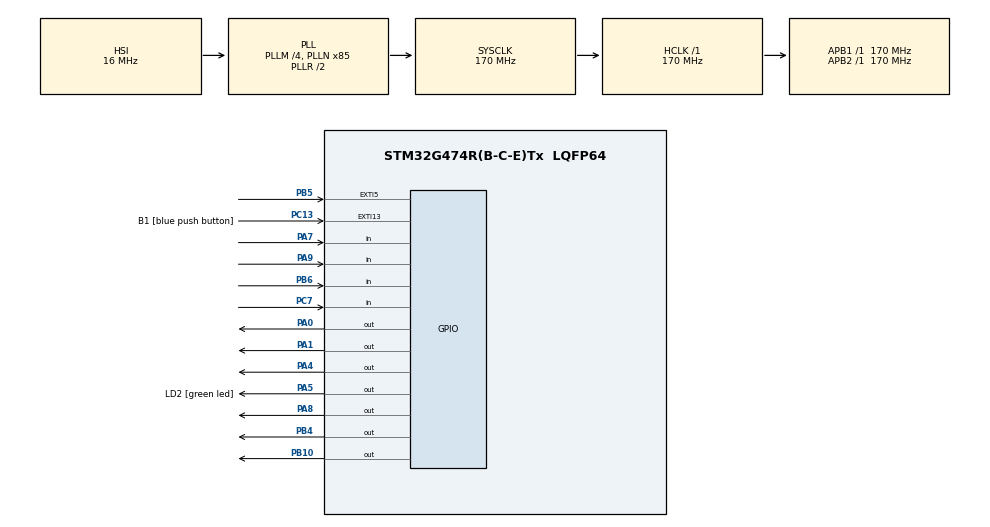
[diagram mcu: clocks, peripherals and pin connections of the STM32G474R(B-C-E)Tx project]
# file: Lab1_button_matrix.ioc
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Mcu.Family=STM32G4
Mcu.Name=STM32G474R(B-C-E)Tx
Mcu.Package=LQFP64
NVIC.EXTI15_10_IRQn=true\:0\:0\:false\:false\:true\:true\:true\:true
NVIC.EXTI9_5_IRQn=true\:0\:0\:false\:false\:true\:true\:true\:true
NVIC.PriorityGroup=NVIC_PRIORITYGROUP_4
PA0.Signal=GPIO_Output
PA1.Signal=GPIO_Output
PA13.GPIO_Label=T_SWDIO
PA13.Signal=SYS_JTMS-SWDIO
PA14.GPIO_Label=T_SWCLK
PA14.Signal=SYS_JTCK-SWCLK
PA2.GPIO_Label=LPUART1_TX [STLINKV3E_VCP_RX]
PA2.Signal=LPUART1_TX
PA3.GPIO_Label=LPUART1_RX [STLINKV3E_VCP_TX]
PA3.Signal=LPUART1_RX
PA4.Signal=GPIO_Output
PA5.GPIO_Label=LD2 [green led]
PA5.GPIO_ModeDefaultOutputPP=GPIO_MODE_OUTPUT_PP
PA5.GPIO_PuPd=GPIO_NOPULL
PA5.Signal=GPIO_Output
PA7.GPIO_PuPd=GPIO_PULLUP
PA7.Signal=GPIO_Input
PA8.GPIO_ModeDefaultOutputPP=GPIO_MODE_OUTPUT_OD
PA8.GPIO_PuPd=GPIO_NOPULL
PA8.Signal=GPIO_Output
PA9.GPIO_PuPd=GPIO_PULLUP
PA9.Signal=GPIO_Input
PB10.GPIO_ModeDefaultOutputPP=GPIO_MODE_OUTPUT_OD
PB10.GPIO_PuPd=GPIO_NOPULL
PB10.Signal=GPIO_Output
PB3.GPIO_Label=T_SWO
PB3.Signal=SYS_JTDO-SWO
PB4.GPIO_ModeDefaultOutputPP=GPIO_MODE_OUTPUT_OD
PB4.GPIO_PuPd=GPIO_NOPULL
PB4.Signal=GPIO_Output
PB5.Signal=GPXTI5
PB6.GPIO_PuPd=GPIO_PULLUP
PB6.Signal=GPIO_Input
PC13.GPIO_Label=B1 [blue push button]
PC13.Signal=GPXTI13
PC14-OSC32_IN.GPIO_Label=RCC_OSC32_IN
PC14-OSC32_IN.Signal=RCC_OSC32_IN
PC15-OSC32_OUT.GPIO_Label=RCC_OSC32_OUT
PC15-OSC32_OUT.Signal=RCC_OSC32_OUT
PC7.GPIO_PuPd=GPIO_PULLUP
PC7.Signal=GPIO_Input
PF0-OSC_IN.GPIO_Label=RCC_OSC_IN
PF0-OSC_IN.Signal=RCC_OSC_IN
PF1-OSC_OUT.GPIO_Label=RCC_OSC_OUT
PF1-OSC_OUT.Signal=RCC_OSC_OUT
ProjectManager.HeapSize=0x200
ProjectManager.StackSize=0x400
ProjectManager.TargetToolchain=STM32CubeIDE
RCC.ADC12Freq_Value=170000000
RCC.ADC345Freq_Value=170000000
RCC.AHBFreq_Value=170000000
RCC.APB1Freq_Value=170000000
RCC.APB1TimFreq_Value=170000000
RCC.APB2Freq_Value=170000000
RCC.APB2TimFreq_Value=170000000
RCC.CortexFreq_Value=170000000
RCC.EXTERNAL_CLOCK_VALUE=12288000
RCC.HCLKFreq_Value=170000000
RCC.HSE_VALUE=24000000
RCC.HSI48_VALUE=48000000
RCC.HSI_VALUE=16000000
RCC.LSE_VALUE=32768
RCC.PLLM=RCC_PLLM_DIV4
RCC.PLLN=85
RCC.RTCClockSelection=RCC_RTCCLKSOURCE_LSE
RCC.SYSCLKFreq_VALUE=170000000
RCC.SYSCLKSource=RCC_SYSCLKSOURCE_PLLCLK
RCC.USBFreq_Value=170000000
RCC.VCOOutputFreq_Value=340000000
VP_SYS_VS_DBSignals.Mode=DisableDeadBatterySignals
board=NUCLEO-G474RE

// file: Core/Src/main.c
/* USER CODE BEGIN Header */
/**
 ******************************************************************************
 * @file           : main.c
 * @brief          : Main program body
 ******************************************************************************
 * @attention
 *
 * Copyright (c) 2025 STMicroelectronics.
 * All rights reserved.
 *
 * This software is licensed under terms that can be found in the LICENSE file
 * in the root directory of this software component.
 * If no LICENSE file comes with this software, it is provided AS-IS.
 *
 ******************************************************************************
 */
/* USER CODE END Header */
#include "main.h"

/* USER CODE BEGIN PV */
#define MAX_REG_DIGITS 11
#define KEYPAD_EMPTY   255
#define SUCCESS_LED_MASK 0b11111110
#define CLOSED_LED 0b11111111
#define LOCKED_LED 0b11110001

struct _ButMtx_Struct {
	GPIO_TypeDef *Port;
	uint16_t Pin;
};

struct _ButMtx_Struct BMX_L[4] = {
		{ GPIOA, GPIO_PIN_9 },
		{ GPIOC, GPIO_PIN_7 },
		{ GPIOB, GPIO_PIN_6 },
		{ GPIOA, GPIO_PIN_7 } };

struct _ButMtx_Struct BMX_R[3] = {
		{ GPIOB, GPIO_PIN_4 },
		{ GPIOB, GPIO_PIN_10 },
		{ GPIOA, GPIO_PIN_8 } };

char Register_Number[MAX_REG_DIGITS + 1] = { 0 };
const char TARGET_NUMBER[MAX_REG_DIGITS + 1] = "67340500031";
uint8_t Current_Digit_Index = 0;
uint16_t ButtonState = 0;
uint32_t LastButtonState = 0;

// TRIAL-OF-ERROR LOCKOUT VARIABLES
uint8_t Failed_Tries = 0;      // Counts failed attempts (0 to 3)
uint8_t is_locked = 0;         // 0: Unlocked, 1: Locked
uint8_t Failed_Try_Mask = 0b11111111;   // Bitmask for error indicator LEDs (e.g., Bit 0, Bit 1, Bit 2)

const char Keypad_Map[12] = {
		'7', '4', '1', '0', // Column 0 (Bits 0-3): 7, 4, 1, 0
		'8', '5', '2', '\0',   // Column 1 (Bits 4-7): 8, 5, 2, (EMPTY/NULL)
		'9', '6', '3', 'K'     // Column 2 (Bits 8-11): 9, 6, 3, 'K' (for OK)
		};

/* USER CODE END PV */

void SystemClock_Config(void);
static void MX_GPIO_Init(void);
/* USER CODE BEGIN PFP */
void ButtonMatrixRead();
uint8_t Keypad_Get_Key(void);
void Register_Number_Handler(void);
uint8_t Check_Register_Number(void);
void Clear_Register_to_Zeros(void);
void HAL_GPIO_EXTI_Callback(uint16_t GPIO_Pin);
void HC595_Write(uint8_t data_to_send);

/* USER CODE END PFP */

/* USER CODE BEGIN 0 */

#define HC595_DATA_PORT       GPIOA
#define HC595_DATA_PIN        GPIO_PIN_0      // SER (DS) -> PA0

#define HC595_LATCH_PORT      GPIOA
#define HC595_LATCH_PIN       GPIO_PIN_1      // RCLK (ST_CP) -> PA1

#define HC595_CLOCK_PORT      GPIOA
#define HC595_CLOCK_PIN       GPIO_PIN_4      // SRCLK (SH_CP) -> PA4

void HC595_Write(uint8_t data_to_send) {
	// 1. Latch LOW: Prepare the Latch register to receive new data
	HAL_GPIO_WritePin(HC595_LATCH_PORT, HC595_LATCH_PIN, GPIO_PIN_RESET);

	// 2. Shift Data (MSB First)
	for (int i = 0; i < 8; i++) {
		// Clock LOW: Prepare for a new bit
		HAL_GPIO_WritePin(HC595_CLOCK_PORT, HC595_CLOCK_PIN, GPIO_PIN_RESET);

		// Set Data Pin (SER) based on the current bit (7-i for MSB First)
		//THIS IS AND GATE of 1
		if ((data_to_send >> (7 - i)) & 0x01) {
			HAL_GPIO_WritePin(HC595_DATA_PORT, HC595_DATA_PIN, GPIO_PIN_SET);
		} else {
			HAL_GPIO_WritePin(HC595_DATA_PORT, HC595_DATA_PIN, GPIO_PIN_RESET);
		}

		// Clock HIGH: Shift the set bit into the 74HC595
		HAL_GPIO_WritePin(HC595_CLOCK_PORT, HC595_CLOCK_PIN, GPIO_PIN_SET);

	}

	// 3. Latch HIGH: Transfer the shifted data from the Shift Register to the Storage Register
	// This updates the outputs (LEDs)
	HAL_GPIO_WritePin(HC595_LATCH_PORT, HC595_LATCH_PIN, GPIO_PIN_SET);
}

/* USER CODE END 0 */

int main(void) {

	/* MCU Configuration--------------------------------------------------------*/

	/* Reset of all peripherals, Initializes the Flash interface and the Systick. */
	HAL_Init();

	/* Configure the system clock */
	SystemClock_Config();

	/* Initialize all configured peripherals */
	MX_GPIO_Init();
	/* USER CODE BEGIN 2 */
	HC595_Write(CLOSED_LED);
	/* USER CODE END 2 */

	/* Infinite loop */
	while (1) {

		/* USER CODE BEGIN 3 */
		static uint32_t BTMX_TimeStamp = 0;
		if (HAL_GetTick() > BTMX_TimeStamp) {
			BTMX_TimeStamp = HAL_GetTick() + 25;
			ButtonMatrixRead();

			// Only process input if the system is not locked
			if (is_locked == 0) {
				Register_Number_Handler();
			}
		}
	}
	/* USER CODE END 3 */
}

void SystemClock_Config(void) {
	RCC_OscInitTypeDef RCC_OscInitStruct = { 0 };
	RCC_ClkInitTypeDef RCC_ClkInitStruct = { 0 };

	/** Configure the main internal regulator output voltage
	 */
	HAL_PWREx_ControlVoltageScaling(PWR_REGULATOR_VOLTAGE_SCALE1_BOOST);

	/** Initializes the RCC Oscillators according to the specified parameters
	 * in the RCC_OscInitTypeDef structure.
	 */
	RCC_OscInitStruct.OscillatorType = RCC_OSCILLATORTYPE_HSI;
	RCC_OscInitStruct.HSIState = RCC_HSI_ON;
	RCC_OscInitStruct.HSICalibrationValue = RCC_HSICALIBRATION_DEFAULT;
	RCC_OscInitStruct.PLL.PLLState = RCC_PLL_ON;
	RCC_OscInitStruct.PLL.PLLSource = RCC_PLLSOURCE_HSI;
	RCC_OscInitStruct.PLL.PLLM = RCC_PLLM_DIV4;
	RCC_OscInitStruct.PLL.PLLN = 85;
	RCC_OscInitStruct.PLL.PLLP = RCC_PLLP_DIV2;
	RCC_OscInitStruct.PLL.PLLQ = RCC_PLLQ_DIV2;
	RCC_OscInitStruct.PLL.PLLR = RCC_PLLR_DIV2;
	if (HAL_RCC_OscConfig(&RCC_OscInitStruct) != HAL_OK) {
		Error_Handler();
	}

	/** Initializes the CPU, AHB and APB buses clocks
	 */
	RCC_ClkInitStruct.ClockType = RCC_CLOCKTYPE_HCLK | RCC_CLOCKTYPE_SYSCLK
			| RCC_CLOCKTYPE_PCLK1 | RCC_CLOCKTYPE_PCLK2;
	RCC_ClkInitStruct.SYSCLKSource = RCC_SYSCLKSOURCE_PLLCLK;
	RCC_ClkInitStruct.AHBCLKDivider = RCC_SYSCLK_DIV1;
	RCC_ClkInitStruct.APB1CLKDivider = RCC_HCLK_DIV1;
	RCC_ClkInitStruct.APB2CLKDivider = RCC_HCLK_DIV1;

	if (HAL_RCC_ClockConfig(&RCC_ClkInitStruct, FLASH_LATENCY_4) != HAL_OK) {
		Error_Handler();
	}
}

static void MX_GPIO_Init(void) {
	GPIO_InitTypeDef GPIO_InitStruct = { 0 };

	/* GPIO Ports Clock Enable */
	__HAL_RCC_GPIOC_CLK_ENABLE();
	__HAL_RCC_GPIOF_CLK_ENABLE();
	__HAL_RCC_GPIOA_CLK_ENABLE();
	__HAL_RCC_GPIOB_CLK_ENABLE();

	/*Configure GPIO pin Output Level */
	HAL_GPIO_WritePin(GPIOA,
			GPIO_PIN_0 | GPIO_PIN_1 | GPIO_PIN_4 | LD2_Pin | GPIO_PIN_8,
			GPIO_PIN_RESET);

	/*Configure GPIO pin Output Level */
	HAL_GPIO_WritePin(GPIOB, GPIO_PIN_10 | GPIO_PIN_4, GPIO_PIN_RESET);

	/*Configure GPIO pin : B1_Pin */
	GPIO_InitStruct.Pin = B1_Pin;
	GPIO_InitStruct.Mode = GPIO_MODE_IT_RISING;
	GPIO_InitStruct.Pull = GPIO_NOPULL;
	HAL_GPIO_Init(B1_GPIO_Port, &GPIO_InitStruct);

	/*Configure GPIO pins : PA0 PA1 PA4 LD2_Pin */
	GPIO_InitStruct.Pin = GPIO_PIN_0 | GPIO_PIN_1 | GPIO_PIN_4 | LD2_Pin;
	GPIO_InitStruct.Mode = GPIO_MODE_OUTPUT_PP;
	GPIO_InitStruct.Pull = GPIO_NOPULL;
	GPIO_InitStruct.Speed = GPIO_SPEED_FREQ_LOW;
	HAL_GPIO_Init(GPIOA, &GPIO_InitStruct);

	/*Configure GPIO pins : LPUART1_TX_Pin LPUART1_RX_Pin */
	GPIO_InitStruct.Pin = LPUART1_TX_Pin | LPUART1_RX_Pin;
	GPIO_InitStruct.Mode = GPIO_MODE_AF_PP;
	GPIO_InitStruct.Pull = GPIO_NOPULL;
	GPIO_InitStruct.Speed = GPIO_SPEED_FREQ_LOW;
	GPIO_InitStruct.Alternate = GPIO_AF12_LPUART1;
	HAL_GPIO_Init(GPIOA, &GPIO_InitStruct);

	/*Configure GPIO pins : PA7 PA9 */
	GPIO_InitStruct.Pin = GPIO_PIN_7 | GPIO_PIN_9;
	GPIO_InitStruct.Mode = GPIO_MODE_INPUT;
	GPIO_InitStruct.Pull = GPIO_PULLUP;
	HAL_GPIO_Init(GPIOA, &GPIO_InitStruct);

	/*Configure GPIO pins : PB10 PB4 */
	GPIO_InitStruct.Pin = GPIO_PIN_10 | GPIO_PIN_4;
	GPIO_InitStruct.Mode = GPIO_MODE_OUTPUT_OD;
	GPIO_InitStruct.Pull = GPIO_NOPULL;
	GPIO_InitStruct.Speed = GPIO_SPEED_FREQ_LOW;
	HAL_GPIO_Init(GPIOB, &GPIO_InitStruct);

	/*Configure GPIO pin : PC7 */
	GPIO_InitStruct.Pin = GPIO_PIN_7;
	GPIO_InitStruct.Mode = GPIO_MODE_INPUT;
	GPIO_InitStruct.Pull = GPIO_PULLUP;
	HAL_GPIO_Init(GPIOC, &GPIO_InitStruct);

	/*Configure GPIO pin : PA8 */
	GPIO_InitStruct.Pin = GPIO_PIN_8;
	GPIO_InitStruct.Mode = GPIO_MODE_OUTPUT_OD;
	GPIO_InitStruct.Pull = GPIO_NOPULL;
	GPIO_InitStruct.Speed = GPIO_SPEED_FREQ_LOW;
	HAL_GPIO_Init(GPIOA, &GPIO_InitStruct);

	/*Configure GPIO pin : PB5 */
	GPIO_InitStruct.Pin = GPIO_PIN_5;
	GPIO_InitStruct.Mode = GPIO_MODE_IT_RISING;
	GPIO_InitStruct.Pull = GPIO_NOPULL;
	HAL_GPIO_Init(GPIOB, &GPIO_InitStruct);

	/*Configure GPIO pin : PB6 */
	GPIO_InitStruct.Pin = GPIO_PIN_6;
	GPIO_InitStruct.Mode = GPIO_MODE_INPUT;
	GPIO_InitStruct.Pull = GPIO_PULLUP;
	HAL_GPIO_Init(GPIOB, &GPIO_InitStruct);

	/* EXTI interrupt init*/
	HAL_NVIC_SetPriority(EXTI9_5_IRQn, 0, 0);
	HAL_NVIC_EnableIRQ(EXTI9_5_IRQn);

	HAL_NVIC_SetPriority(EXTI15_10_IRQn, 0, 0);
	HAL_NVIC_EnableIRQ(EXTI15_10_IRQn);

}

/* USER CODE BEGIN 4 */
void HAL_GPIO_EXTI_Callback(uint16_t GPIO_Pin) {
	if (is_locked == 1) {
		return;
	}

	if (GPIO_Pin == GPIO_PIN_5) {
		Clear_Register_to_Zeros();
		HAL_GPIO_WritePin(GPIOA, GPIO_PIN_5, GPIO_PIN_RESET);
		HC595_Write(CLOSED_LED);
	}
}

uint8_t Keypad_Get_Key(void) {
	uint32_t current_state = ButtonState;
	uint32_t new_press = current_state & (~LastButtonState);
	LastButtonState = current_state;

	if (new_press != 0) {
		return (uint8_t) __builtin_ctz(new_press);
	}

	return 255; // No new key pressed
}

uint8_t Check_Register_Number(void) {
	// 1. Check Length: The input MUST be exactly 11 digits long.
	if (Current_Digit_Index != MAX_REG_DIGITS) {
		return 0; // Wrong length
	}

	// 2. Compare Content: Loop through the array to check each character.
	for (uint8_t i = 0; i < MAX_REG_DIGITS; i++) {
		if (Register_Number[i] != TARGET_NUMBER[i]) {
			return 0; // Mismatch found
		}
	}

	// 3. Match: If the loop completes, the numbers are identical.
	return 1;
}

void ButtonMatrixRead() {
	static uint8_t X = 0;

	for (int i = 0; i < 4; i++) {
		uint8_t bit_pos = i + (X * 4);

		if (HAL_GPIO_ReadPin(BMX_L[i].Port, BMX_L[i].Pin) == GPIO_PIN_RESET) {
			ButtonState |= 1 << (bit_pos);
		}

		else {
			ButtonState &= ~(1 << bit_pos);
		}
	}

	HAL_GPIO_WritePin(BMX_R[X].Port, BMX_R[X].Pin, GPIO_PIN_SET);
	uint8_t nextX = (X + 1) % 3;
	HAL_GPIO_WritePin(BMX_R[nextX].Port, BMX_R[nextX].Pin, GPIO_PIN_RESET);
	X = nextX;
}

void Clear_Register_to_Zeros(void) {
	for (uint8_t i = 0; i < MAX_REG_DIGITS; i++) {
		Register_Number[i] = '0';
	}
	Current_Digit_Index = 0;
	Register_Number[MAX_REG_DIGITS] = '\0'; // Ensure termination is correct
}

void Register_Number_Handler(void) {
	if (is_locked == 1) {
		return;
	}

	uint8_t key_index = Keypad_Get_Key();
	if (key_index != KEYPAD_EMPTY && key_index < 12) {
		char pressed_char = Keypad_Map[key_index];
		if (pressed_char == '\0') {
			return;
		}

		if (pressed_char >= '0' && pressed_char <= '9') {

			if (Current_Digit_Index < MAX_REG_DIGITS) {
				Register_Number[Current_Digit_Index++] = pressed_char;
				Register_Number[Current_Digit_Index] = '\0';
			}
		}

		else if (pressed_char == 'K') {

			if (Current_Digit_Index > 0) {

				uint8_t match = Check_Register_Number();

				if (match == 1) {
					Failed_Tries = 0;
					Failed_Try_Mask = 0b11111111;
					HC595_Write(SUCCESS_LED_MASK);
					HAL_GPIO_WritePin(GPIOA, GPIO_PIN_5, GPIO_PIN_SET);
				}

				else {
					Failed_Tries++;

					if (Failed_Tries <= 3) {
						Failed_Try_Mask &= ~(1 << Failed_Tries);
						HC595_Write(Failed_Try_Mask);
					}

					if (Failed_Tries >= 3) {
						is_locked = 1;
						HC595_Write(LOCKED_LED);
					}

					HAL_GPIO_WritePin(GPIOA, GPIO_PIN_5, GPIO_PIN_RESET);
					Current_Digit_Index = 0;
					Register_Number[0] = '\0';
				}
			}
		}
	}
}

/* USER CODE END 4 */

void Error_Handler(void) {
	__disable_irq();
	while (1) {
	}
}
